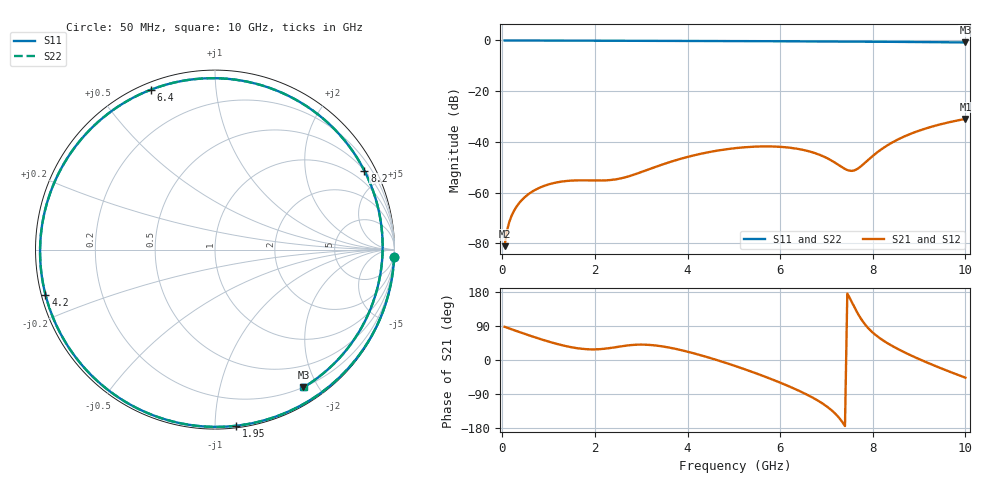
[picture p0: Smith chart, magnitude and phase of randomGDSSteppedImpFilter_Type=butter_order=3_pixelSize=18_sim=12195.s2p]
! freq	dB(S11)	phase(S11)	dB(S12)	phase(S12)
!  dB(S21)	phase(S21)	dB(S22)	phase(S22)
!S-par simulation data
#  GHz  S  DB  R 50
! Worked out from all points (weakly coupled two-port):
!   200 points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, 50 MHz to 10 GHz, reference 50 ohm
!   highest |S21| = -30.92 dB at 10 GHz (marker M1); lowest = -81.1 dB at 50 MHz (marker M2)
!   lowest |S11| = -0.8 dB at 10 GHz (marker M3), VSWR 21.80, Z = 9.9 - j90.6 ohm
!   |S11| at or under -10 dB: nowhere
!   |S22| runs from -0.8 to 0.0 dB; largest |S21 - S12| = 0
!   S11 on the Smith chart (normalised r, x): 50 MHz: 1, -50; 1.95 GHz: 0.01, -1.13; 4.2 GHz: 0.01, -0.13; 6.4 GHz: 0.03, +0.68; 8.2 GHz: 0.51, +3.96; 10 GHz: 0.20, -1.81
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0.05  -0.01 -2.3  -81.07 87.7  -81.07 87.7  -0.01 -2.3
0.1  -0.01 -4.5  -75.07 85.4  -75.07 85.4  -0.01 -4.5
0.2  -0.01 -9.0  -69.12 81.0  -69.12 81.0  -0.01 -9.0
0.35  -0.02 -15.7  -64.41 74.6  -64.41 74.6  -0.02 -15.7
0.55  -0.03 -24.6  -60.78 66.2  -60.78 66.2  -0.03 -24.6
1.05  -0.06 -46.3  -56.47 46.8  -56.47 46.8  -0.06 -46.3
1.75  -0.09 -75.3  -55.12 29.2  -55.12 29.2  -0.09 -75.3
1.95  -0.10 -83.3  -55.17 28.0  -55.17 28.0  -0.10 -83.3
2.65  -0.13 -110.0  -53.96 37.6  -53.96 37.6  -0.13 -110.0
3.4  -0.16 -137.0  -49.24 36.9  -49.24 36.9  -0.16 -137.0
4.2  -0.20 -165.1  -45.01 15.5  -45.01 15.5  -0.20 -165.1
5.05  -0.25 164.6  -42.41 -16.7  -42.41 -16.7  -0.25 164.6
5.7  -0.30 140.2  -41.75 -45.2  -41.75 -45.2  -0.30 140.2
6.4  -0.36 111.8  -42.78 -80.9  -42.78 -80.9  -0.36 111.9
6.7  -0.38 98.9  -44.09 -99.2  -44.09 -99.2  -0.38 98.9
7.15  -0.42 78.6  -47.77 -136.9  -47.77 -136.9  -0.42 78.6
7.55  -0.46 59.7  -51.39 152.3  -51.39 152.3  -0.46 59.7
8.2  -0.53 27.9  -42.71 53.5  -42.71 53.5  -0.53 28.0
8.35  -0.54 20.5  -40.95 42.0  -40.95 42.0  -0.54 20.5
8.7  -0.58 3.2  -37.69 19.3  -37.69 19.3  -0.58 3.3
9.1  -0.64 -16.1  -34.94 -2.9  -34.94 -2.9  -0.64 -16.1
10  -0.80 -57.3  -30.92 -46.7  -30.92 -46.7  -0.80 -57.3
